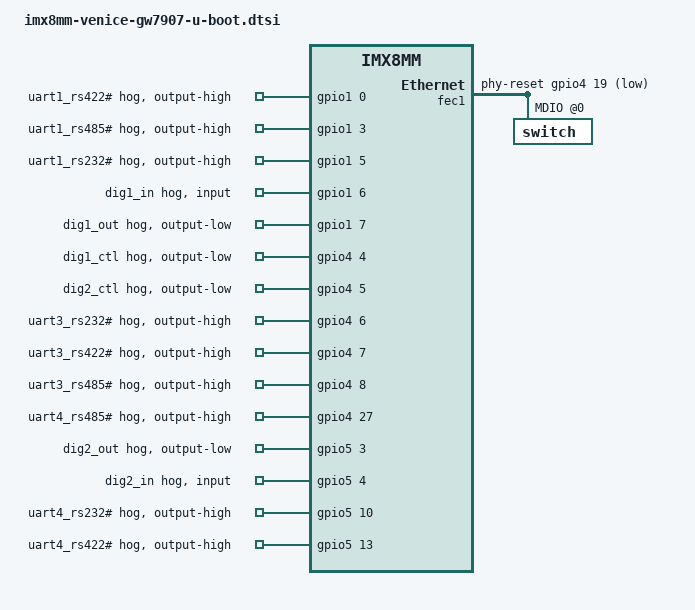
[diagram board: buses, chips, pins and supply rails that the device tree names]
// SPDX-License-Identifier: GPL-2.0+
/*
 * Copyright 2025 Gateworks Corporation
 */

#include "imx8mm-venice-u-boot.dtsi"

&gpio1 {
	uart1rs422 {
		gpio-hog;
		output-high;
		gpios = <0 GPIO_ACTIVE_HIGH>;
		line-name = "uart1_rs422#";
	};

	uart1rs485 {
		gpio-hog;
		output-high;
		gpios = <3 GPIO_ACTIVE_HIGH>;
		line-name = "uart1_rs485#";
	};

	uart1rs232 {
		gpio-hog;
		output-high;
		gpios = <5 GPIO_ACTIVE_HIGH>;
		line-name = "uart1_rs232#";
	};

	dig1in {
		gpio-hog;
		input;
		gpios = <6 GPIO_ACTIVE_HIGH>;
		line-name = "dig1_in";
	};

	dig1out {
		gpio-hog;
		output-low;
		gpios = <7 GPIO_ACTIVE_HIGH>;
		line-name = "dig1_out";
	};
};

&gpio4 {
	dig1ctl {
		gpio-hog;
		output-low;
		gpios = <4 GPIO_ACTIVE_HIGH>;
		line-name = "dig1_ctl";
	};

	dig2ctl {
		gpio-hog;
		output-low;
		gpios = <5 GPIO_ACTIVE_HIGH>;
		line-name = "dig2_ctl";
	};

	uart3_rs232 {
		gpio-hog;
		output-high;
		gpios = <6 GPIO_ACTIVE_HIGH>;
		line-name = "uart3_rs232#";
	};

	uart3_rs422 {
		gpio-hog;
		output-high;
		gpios = <7 GPIO_ACTIVE_HIGH>;
		line-name = "uart3_rs422#";
	};

	uart3_rs485 {
		gpio-hog;
		output-high;
		gpios = <8 GPIO_ACTIVE_HIGH>;
		line-name = "uart3_rs485#";
	};

	uart4_rs485 {
		gpio-hog;
		output-high;
		gpios = <27 GPIO_ACTIVE_HIGH>;
		line-name = "uart4_rs485#";
	};
};

&gpio5 {
	dig2out {
		gpio-hog;
		output-low;
		gpios = <3 GPIO_ACTIVE_HIGH>;
		line-name = "dig2_out";
	};

	dig2in {
		gpio-hog;
		input;
		gpios = <4 GPIO_ACTIVE_HIGH>;
		line-name = "dig2_in";
	};

	uart4_rs232 {
		gpio-hog;
		output-high;
		gpios = <10 GPIO_ACTIVE_HIGH>;
		line-name = "uart4_rs232#";
	};

	uart4_rs422 {
		gpio-hog;
		output-high;
		gpios = <13 GPIO_ACTIVE_HIGH>;
		line-name = "uart4_rs422#";
	};
};

&fec1 {
	phy-reset-gpios = <&gpio4 19 GPIO_ACTIVE_LOW>;
	phy-reset-duration = <1>;
	phy-reset-post-delay = <1>;
};

/* dsa_post_bind requires all ports to be defined; define the unused ones */
&fec1 {
	mdio {
		switch@0 {
			ethernet-ports {
				port@1 {
					reg = <1>;
					status = "disabled";
				};

				port@2 {
					reg = <2>;
					status = "disabled";
				};
			};
		};
	};
};

&pinctrl_fec1 {
	bootph-pre-ram;
};

&{/soc@0/bus@30800000/i2c@30a30000/pmic@4b} {
	bootph-pre-ram;
};

&{/soc@0/bus@30800000/i2c@30a30000/pmic@4b/regulators} {
	bootph-pre-ram;
};

&pinctrl_pmic {
	bootph-pre-ram;
};
